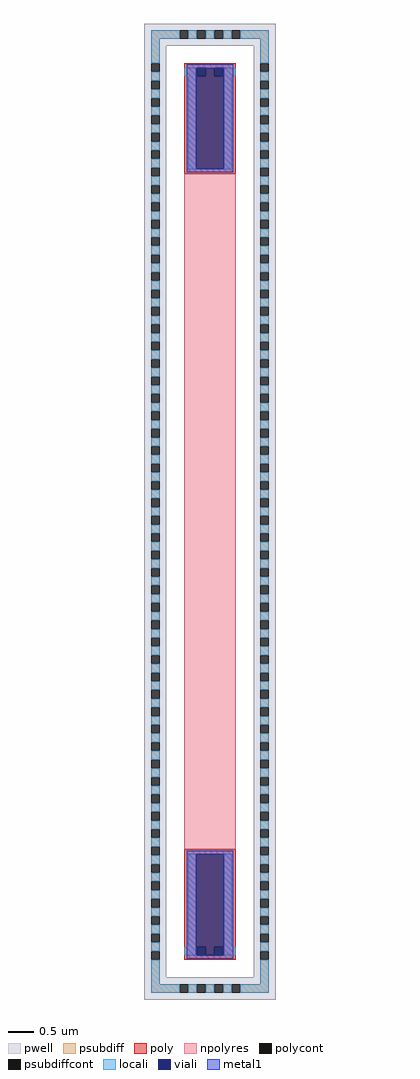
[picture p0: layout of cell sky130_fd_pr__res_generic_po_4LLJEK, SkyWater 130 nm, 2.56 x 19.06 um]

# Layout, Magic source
magic
tech sky130B
magscale 1 2
<< pwell >>
rect -256 1820 256 1906
rect -256 -1820 -170 1820
rect 170 -1820 256 1820
rect -256 -1906 256 -1820
<< psubdiff >>
rect -230 1846 -119 1880
rect -85 1846 -51 1880
rect -17 1846 17 1880
rect 51 1846 85 1880
rect 119 1846 230 1880
rect -230 1751 -196 1846
rect 196 1751 230 1846
rect -230 1683 -196 1717
rect -230 1615 -196 1649
rect -230 1547 -196 1581
rect -230 1479 -196 1513
rect -230 1411 -196 1445
rect -230 1343 -196 1377
rect -230 1275 -196 1309
rect -230 1207 -196 1241
rect -230 1139 -196 1173
rect -230 1071 -196 1105
rect -230 1003 -196 1037
rect -230 935 -196 969
rect -230 867 -196 901
rect -230 799 -196 833
rect -230 731 -196 765
rect -230 663 -196 697
rect -230 595 -196 629
rect -230 527 -196 561
rect -230 459 -196 493
rect -230 391 -196 425
rect -230 323 -196 357
rect -230 255 -196 289
rect -230 187 -196 221
rect -230 119 -196 153
rect -230 51 -196 85
rect -230 -17 -196 17
rect -230 -85 -196 -51
rect -230 -153 -196 -119
rect -230 -221 -196 -187
rect -230 -289 -196 -255
rect -230 -357 -196 -323
rect -230 -425 -196 -391
rect -230 -493 -196 -459
rect -230 -561 -196 -527
rect -230 -629 -196 -595
rect -230 -697 -196 -663
rect -230 -765 -196 -731
rect -230 -833 -196 -799
rect -230 -901 -196 -867
rect -230 -969 -196 -935
rect -230 -1037 -196 -1003
rect -230 -1105 -196 -1071
rect -230 -1173 -196 -1139
rect -230 -1241 -196 -1207
rect -230 -1309 -196 -1275
rect -230 -1377 -196 -1343
rect -230 -1445 -196 -1411
rect -230 -1513 -196 -1479
rect -230 -1581 -196 -1547
rect -230 -1649 -196 -1615
rect -230 -1717 -196 -1683
rect 196 1683 230 1717
rect 196 1615 230 1649
rect 196 1547 230 1581
rect 196 1479 230 1513
rect 196 1411 230 1445
rect 196 1343 230 1377
rect 196 1275 230 1309
rect 196 1207 230 1241
rect 196 1139 230 1173
rect 196 1071 230 1105
rect 196 1003 230 1037
rect 196 935 230 969
rect 196 867 230 901
rect 196 799 230 833
rect 196 731 230 765
rect 196 663 230 697
rect 196 595 230 629
rect 196 527 230 561
rect 196 459 230 493
rect 196 391 230 425
rect 196 323 230 357
rect 196 255 230 289
rect 196 187 230 221
rect 196 119 230 153
rect 196 51 230 85
rect 196 -17 230 17
rect 196 -85 230 -51
rect 196 -153 230 -119
rect 196 -221 230 -187
rect 196 -289 230 -255
rect 196 -357 230 -323
rect 196 -425 230 -391
rect 196 -493 230 -459
rect 196 -561 230 -527
rect 196 -629 230 -595
rect 196 -697 230 -663
rect 196 -765 230 -731
rect 196 -833 230 -799
rect 196 -901 230 -867
rect 196 -969 230 -935
rect 196 -1037 230 -1003
rect 196 -1105 230 -1071
rect 196 -1173 230 -1139
rect 196 -1241 230 -1207
rect 196 -1309 230 -1275
rect 196 -1377 230 -1343
rect 196 -1445 230 -1411
rect 196 -1513 230 -1479
rect 196 -1581 230 -1547
rect 196 -1649 230 -1615
rect 196 -1717 230 -1683
rect -230 -1846 -196 -1751
rect 196 -1846 230 -1751
rect -230 -1880 -119 -1846
rect -85 -1880 -51 -1846
rect -17 -1880 17 -1846
rect 51 -1880 85 -1846
rect 119 -1880 230 -1846
<< psubdiffcont >>
rect -119 1846 -85 1880
rect -51 1846 -17 1880
rect 17 1846 51 1880
rect 85 1846 119 1880
rect -230 1717 -196 1751
rect -230 1649 -196 1683
rect -230 1581 -196 1615
rect -230 1513 -196 1547
rect -230 1445 -196 1479
rect -230 1377 -196 1411
rect -230 1309 -196 1343
rect -230 1241 -196 1275
rect -230 1173 -196 1207
rect -230 1105 -196 1139
rect -230 1037 -196 1071
rect -230 969 -196 1003
rect -230 901 -196 935
rect -230 833 -196 867
rect -230 765 -196 799
rect -230 697 -196 731
rect -230 629 -196 663
rect -230 561 -196 595
rect -230 493 -196 527
rect -230 425 -196 459
rect -230 357 -196 391
rect -230 289 -196 323
rect -230 221 -196 255
rect -230 153 -196 187
rect -230 85 -196 119
rect -230 17 -196 51
rect -230 -51 -196 -17
rect -230 -119 -196 -85
rect -230 -187 -196 -153
rect -230 -255 -196 -221
rect -230 -323 -196 -289
rect -230 -391 -196 -357
rect -230 -459 -196 -425
rect -230 -527 -196 -493
rect -230 -595 -196 -561
rect -230 -663 -196 -629
rect -230 -731 -196 -697
rect -230 -799 -196 -765
rect -230 -867 -196 -833
rect -230 -935 -196 -901
rect -230 -1003 -196 -969
rect -230 -1071 -196 -1037
rect -230 -1139 -196 -1105
rect -230 -1207 -196 -1173
rect -230 -1275 -196 -1241
rect -230 -1343 -196 -1309
rect -230 -1411 -196 -1377
rect -230 -1479 -196 -1445
rect -230 -1547 -196 -1513
rect -230 -1615 -196 -1581
rect -230 -1683 -196 -1649
rect -230 -1751 -196 -1717
rect 196 1717 230 1751
rect 196 1649 230 1683
rect 196 1581 230 1615
rect 196 1513 230 1547
rect 196 1445 230 1479
rect 196 1377 230 1411
rect 196 1309 230 1343
rect 196 1241 230 1275
rect 196 1173 230 1207
rect 196 1105 230 1139
rect 196 1037 230 1071
rect 196 969 230 1003
rect 196 901 230 935
rect 196 833 230 867
rect 196 765 230 799
rect 196 697 230 731
rect 196 629 230 663
rect 196 561 230 595
rect 196 493 230 527
rect 196 425 230 459
rect 196 357 230 391
rect 196 289 230 323
rect 196 221 230 255
rect 196 153 230 187
rect 196 85 230 119
rect 196 17 230 51
rect 196 -51 230 -17
rect 196 -119 230 -85
rect 196 -187 230 -153
rect 196 -255 230 -221
rect 196 -323 230 -289
rect 196 -391 230 -357
rect 196 -459 230 -425
rect 196 -527 230 -493
rect 196 -595 230 -561
rect 196 -663 230 -629
rect 196 -731 230 -697
rect 196 -799 230 -765
rect 196 -867 230 -833
rect 196 -935 230 -901
rect 196 -1003 230 -969
rect 196 -1071 230 -1037
rect 196 -1139 230 -1105
rect 196 -1207 230 -1173
rect 196 -1275 230 -1241
rect 196 -1343 230 -1309
rect 196 -1411 230 -1377
rect 196 -1479 230 -1445
rect 196 -1547 230 -1513
rect 196 -1615 230 -1581
rect 196 -1683 230 -1649
rect 196 -1751 230 -1717
rect -119 -1880 -85 -1846
rect -51 -1880 -17 -1846
rect 17 -1880 51 -1846
rect 85 -1880 119 -1846
<< poly >>
rect -100 1734 100 1750
rect -100 1700 -51 1734
rect -17 1700 17 1734
rect 51 1700 100 1734
rect -100 1320 100 1700
rect -100 -1700 100 -1320
rect -100 -1734 -51 -1700
rect -17 -1734 17 -1700
rect 51 -1734 100 -1700
rect -100 -1750 100 -1734
<< polycont >>
rect -51 1700 -17 1734
rect 17 1700 51 1734
rect -51 -1734 -17 -1700
rect 17 -1734 51 -1700
<< npolyres >>
rect -100 -1320 100 1320
<< locali >>
rect -230 1846 -119 1880
rect -85 1846 -51 1880
rect -17 1846 17 1880
rect 51 1846 85 1880
rect 119 1846 230 1880
rect -230 1751 -196 1846
rect 196 1751 230 1846
rect -230 1683 -196 1717
rect -100 1732 -51 1734
rect -17 1732 17 1734
rect 51 1732 100 1734
rect -100 1700 -53 1732
rect 53 1700 100 1732
rect -230 1615 -196 1649
rect -230 1547 -196 1581
rect -230 1479 -196 1513
rect -230 1411 -196 1445
rect -230 1343 -196 1377
rect -84 1338 -53 1700
rect 53 1338 84 1700
rect -84 1337 84 1338
rect 196 1683 230 1717
rect 196 1615 230 1649
rect 196 1547 230 1581
rect 196 1479 230 1513
rect 196 1411 230 1445
rect 196 1343 230 1377
rect -230 1275 -196 1309
rect -230 1207 -196 1241
rect -230 1139 -196 1173
rect -230 1071 -196 1105
rect -230 1003 -196 1037
rect -230 935 -196 969
rect -230 867 -196 901
rect -230 799 -196 833
rect -230 731 -196 765
rect -230 663 -196 697
rect -230 595 -196 629
rect -230 527 -196 561
rect -230 459 -196 493
rect -230 391 -196 425
rect -230 323 -196 357
rect -230 255 -196 289
rect -230 187 -196 221
rect -230 119 -196 153
rect -230 51 -196 85
rect -230 -17 -196 17
rect -230 -85 -196 -51
rect -230 -153 -196 -119
rect -230 -221 -196 -187
rect -230 -289 -196 -255
rect -230 -357 -196 -323
rect -230 -425 -196 -391
rect -230 -493 -196 -459
rect -230 -561 -196 -527
rect -230 -629 -196 -595
rect -230 -697 -196 -663
rect -230 -765 -196 -731
rect -230 -833 -196 -799
rect -230 -901 -196 -867
rect -230 -969 -196 -935
rect -230 -1037 -196 -1003
rect -230 -1105 -196 -1071
rect -230 -1173 -196 -1139
rect -230 -1241 -196 -1207
rect -230 -1309 -196 -1275
rect 196 1275 230 1309
rect 196 1207 230 1241
rect 196 1139 230 1173
rect 196 1071 230 1105
rect 196 1003 230 1037
rect 196 935 230 969
rect 196 867 230 901
rect 196 799 230 833
rect 196 731 230 765
rect 196 663 230 697
rect 196 595 230 629
rect 196 527 230 561
rect 196 459 230 493
rect 196 391 230 425
rect 196 323 230 357
rect 196 255 230 289
rect 196 187 230 221
rect 196 119 230 153
rect 196 51 230 85
rect 196 -17 230 17
rect 196 -85 230 -51
rect 196 -153 230 -119
rect 196 -221 230 -187
rect 196 -289 230 -255
rect 196 -357 230 -323
rect 196 -425 230 -391
rect 196 -493 230 -459
rect 196 -561 230 -527
rect 196 -629 230 -595
rect 196 -697 230 -663
rect 196 -765 230 -731
rect 196 -833 230 -799
rect 196 -901 230 -867
rect 196 -969 230 -935
rect 196 -1037 230 -1003
rect 196 -1105 230 -1071
rect 196 -1173 230 -1139
rect 196 -1241 230 -1207
rect 196 -1309 230 -1275
rect -230 -1377 -196 -1343
rect -230 -1445 -196 -1411
rect -230 -1513 -196 -1479
rect -230 -1581 -196 -1547
rect -230 -1649 -196 -1615
rect -230 -1717 -196 -1683
rect -84 -1339 84 -1337
rect -84 -1700 -53 -1339
rect 53 -1700 84 -1339
rect 196 -1377 230 -1343
rect 196 -1445 230 -1411
rect 196 -1513 230 -1479
rect 196 -1581 230 -1547
rect 196 -1649 230 -1615
rect -100 -1733 -53 -1700
rect 53 -1733 100 -1700
rect -100 -1734 -51 -1733
rect -17 -1734 17 -1733
rect 51 -1734 100 -1733
rect 196 -1717 230 -1683
rect -230 -1846 -196 -1751
rect 196 -1846 230 -1751
rect -230 -1880 -119 -1846
rect -85 -1880 -51 -1846
rect -17 -1880 17 -1846
rect 51 -1880 85 -1846
rect 119 -1880 230 -1846
<< viali >>
rect -53 1700 -51 1732
rect -51 1700 -17 1732
rect -17 1700 17 1732
rect 17 1700 51 1732
rect 51 1700 53 1732
rect -53 1338 53 1700
rect -53 -1700 53 -1339
rect -53 -1733 -51 -1700
rect -51 -1733 -17 -1700
rect -17 -1733 17 -1700
rect 17 -1733 51 -1700
rect 51 -1733 53 -1700
<< metal1 >>
rect -90 1732 90 1746
rect -90 1338 -53 1732
rect 53 1338 90 1732
rect -90 1325 90 1338
rect -90 -1339 90 -1325
rect -90 -1733 -53 -1339
rect 53 -1733 90 -1339
rect -90 -1746 90 -1733
<< properties >>
string FIXED_BBOX -213 -1863 213 1863
<< end >>
